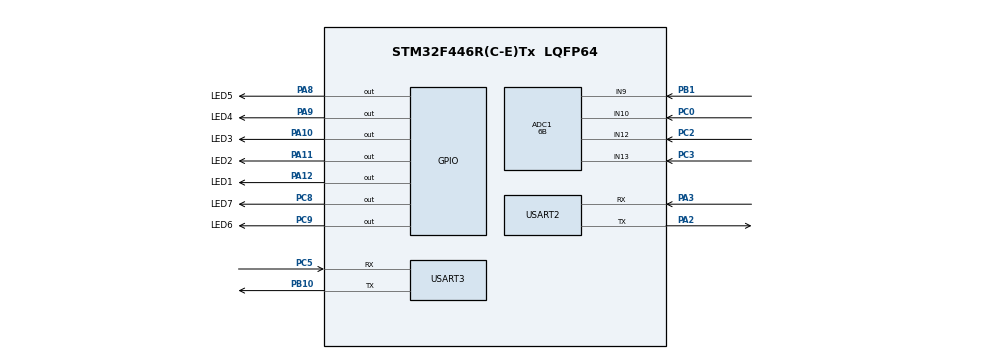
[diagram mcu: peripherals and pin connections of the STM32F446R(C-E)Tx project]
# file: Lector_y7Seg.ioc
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ADC1.Channel-1\#ChannelRegularConversion=ADC_CHANNEL_9
ADC1.Channel-2\#ChannelRegularConversion=ADC_CHANNEL_10
ADC1.Channel-3\#ChannelRegularConversion=ADC_CHANNEL_12
ADC1.Channel-4\#ChannelRegularConversion=ADC_CHANNEL_13
ADC1.ContinuousConvMode=ENABLE
ADC1.DataAlign=ADC_DATAALIGN_LEFT
ADC1.InjNumberOfConversion=0
ADC1.NbrOfConversion=4
ADC1.NbrOfConversionFlag=1
ADC1.Rank-1\#ChannelRegularConversion=1
ADC1.Rank-2\#ChannelRegularConversion=2
ADC1.Rank-3\#ChannelRegularConversion=3
ADC1.Rank-4\#ChannelRegularConversion=4
ADC1.Resolution=ADC_RESOLUTION_6B
ADC1.SamplingTime-1\#ChannelRegularConversion=ADC_SAMPLETIME_3CYCLES
ADC1.SamplingTime-2\#ChannelRegularConversion=ADC_SAMPLETIME_3CYCLES
ADC1.SamplingTime-3\#ChannelRegularConversion=ADC_SAMPLETIME_3CYCLES
ADC1.SamplingTime-4\#ChannelRegularConversion=ADC_SAMPLETIME_3CYCLES
ADC1.ScanConvMode=ENABLE
ADC1.master=1
Mcu.Family=STM32F4
Mcu.Name=STM32F446R(C-E)Tx
Mcu.Package=LQFP64
NVIC.ADC_IRQn=true\:0\:0\:false\:false\:true\:true\:true\:true
NVIC.PriorityGroup=NVIC_PRIORITYGROUP_4
NVIC.USART2_IRQn=true\:0\:0\:false\:false\:true\:true\:true\:true
NVIC.USART3_IRQn=true\:0\:0\:false\:false\:true\:true\:true\:true
PA10.GPIO_Label=LED3
PA10.GPIO_PuPd=GPIO_PULLDOWN
PA10.Signal=GPIO_Output
PA11.GPIO_Label=LED2
PA11.GPIO_PuPd=GPIO_PULLDOWN
PA11.Signal=GPIO_Output
PA12.GPIO_Label=LED1
PA12.GPIO_ModeDefaultOutputPP=GPIO_MODE_OUTPUT_PP
PA12.GPIO_PuPd=GPIO_PULLDOWN
PA12.GPIO_Speed=GPIO_SPEED_FREQ_LOW
PA12.PinState=GPIO_PIN_RESET
PA12.Signal=GPIO_Output
PA2.Mode=Asynchronous
PA2.Signal=USART2_TX
PA3.Mode=Asynchronous
PA3.Signal=USART2_RX
PA8.GPIO_Label=LED5
PA8.GPIO_PuPd=GPIO_PULLDOWN
PA8.Signal=GPIO_Output
PA9.GPIO_Label=LED4
PA9.GPIO_PuPd=GPIO_PULLDOWN
PA9.Signal=GPIO_Output
PB1.Signal=ADCx_IN9
PB10.Mode=Asynchronous
PB10.Signal=USART3_TX
PC0.Signal=ADCx_IN10
PC2.Signal=ADCx_IN12
PC3.Signal=ADCx_IN13
PC5.Mode=Asynchronous
PC5.Signal=USART3_RX
PC8.GPIO_Label=LED7
PC8.GPIO_PuPd=GPIO_PULLDOWN
PC8.Signal=GPIO_Output
PC9.GPIO_Label=LED6
PC9.GPIO_PuPd=GPIO_PULLDOWN
PC9.Signal=GPIO_Output
ProjectManager.HeapSize=0x200
ProjectManager.StackSize=0x400
ProjectManager.TargetToolchain=STM32CubeIDE
RCC.CortexFreq_Value=16000000
RCC.USBFreq_Value=96000000
RCC.VCOOutputFreq_Value=192000000
SH.ADCx_IN10.0=ADC1_IN10,IN10
SH.ADCx_IN12.0=ADC1_IN12,IN12
SH.ADCx_IN13.0=ADC1_IN13,IN13
SH.ADCx_IN9.0=ADC1_IN9,IN9
USART2.VirtualMode=VM_ASYNC
USART3.VirtualMode=VM_ASYNC
board=custom

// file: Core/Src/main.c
/* USER CODE BEGIN Header */
/**
  ******************************************************************************
  * @file           : main.c
  * @brief          : Main program body
  ******************************************************************************
  * @attention
  *
  * Copyright (c) 2024 STMicroelectronics.
  * All rights reserved.
  *
  * This software is licensed under terms that can be found in the LICENSE file
  * in the root directory of this software component.
  * If no LICENSE file comes with this software, it is provided AS-IS.
  *
  ******************************************************************************
  */
/* USER CODE END Header */
#include "main.h"

ADC_HandleTypeDef hadc1;

UART_HandleTypeDef huart2;
UART_HandleTypeDef huart3;

/* USER CODE BEGIN PV */
uint8_t data[10];
uint32_t adc_value;
uint32_t adc_value1;
uint32_t adc_value2;
uint32_t adc_value3;
uint8_t buffer[0];

uint8_t start = 0;

uint8_t dis = 0;
int ocu = 0;
uint8_t contador = 8;

uint8_t adc = 0;
uint8_t uno = 0;
uint8_t dos = 0;
uint8_t tres = 0;
uint8_t cuatro = 0;

uint8_t p1 = 0;
uint8_t p2 = 0;
uint8_t p3 = 0;
uint8_t p4 = 0;

uint8_t p_dispo = 0;

/* USER CODE END PV */

void SystemClock_Config(void);
static void MX_GPIO_Init(void);
static void MX_ADC1_Init(void);
static void MX_USART2_UART_Init(void);
static void MX_USART3_UART_Init(void);
/* USER CODE BEGIN PFP */
void transmit_uart(char *string);
void transmit_uart3(char *strin);
void parqueo1(void);
void parqueo2(void);
void parqueo3(void);
void parqueo4(void);
//void updateDisplay(contador);
/* USER CODE END PFP */

/* USER CODE BEGIN 0 */

void updateDisplay(uint8_t count) {
    // Apagar todos los LEDs primero
    HAL_GPIO_WritePin(LED1_GPIO_Port, LED1_Pin, GPIO_PIN_RESET);
    HAL_GPIO_WritePin(LED2_GPIO_Port, LED2_Pin, GPIO_PIN_RESET);
    HAL_GPIO_WritePin(LED3_GPIO_Port, LED3_Pin, GPIO_PIN_RESET);
    HAL_GPIO_WritePin(LED4_GPIO_Port, LED4_Pin, GPIO_PIN_RESET);
    HAL_GPIO_WritePin(LED5_GPIO_Port, LED5_Pin, GPIO_PIN_RESET);
    HAL_GPIO_WritePin(LED6_GPIO_Port, LED6_Pin, GPIO_PIN_RESET);
    HAL_GPIO_WritePin(LED7_GPIO_Port, LED7_Pin, GPIO_PIN_RESET);

    // Encender los segmentos correspondientes según el contador
    switch (count) {
        case 8:
            HAL_GPIO_WritePin(LED1_GPIO_Port, LED1_Pin, GPIO_PIN_SET);
            HAL_GPIO_WritePin(LED2_GPIO_Port, LED2_Pin, GPIO_PIN_SET);
            HAL_GPIO_WritePin(LED3_GPIO_Port, LED3_Pin, GPIO_PIN_SET);
            HAL_GPIO_WritePin(LED4_GPIO_Port, LED4_Pin, GPIO_PIN_SET);
            HAL_GPIO_WritePin(LED5_GPIO_Port, LED5_Pin, GPIO_PIN_SET);
            HAL_GPIO_WritePin(LED6_GPIO_Port, LED6_Pin, GPIO_PIN_SET);
            HAL_GPIO_WritePin(LED7_GPIO_Port, LED7_Pin, GPIO_PIN_SET);
            break;
        case 7:
            // Encender segmentos para 7
            HAL_GPIO_WritePin(LED1_GPIO_Port, LED1_Pin, GPIO_PIN_SET);
            HAL_GPIO_WritePin(LED2_GPIO_Port, LED2_Pin, GPIO_PIN_SET);
            HAL_GPIO_WritePin(LED3_GPIO_Port, LED3_Pin, GPIO_PIN_SET);
            // ...
            break;
        case 6:
            // Encender segmentos para 6
            HAL_GPIO_WritePin(LED1_GPIO_Port, LED1_Pin, GPIO_PIN_SET);
            HAL_GPIO_WritePin(LED3_GPIO_Port, LED3_Pin, GPIO_PIN_SET);
            HAL_GPIO_WritePin(LED4_GPIO_Port, LED4_Pin, GPIO_PIN_SET);
            HAL_GPIO_WritePin(LED5_GPIO_Port, LED5_Pin, GPIO_PIN_SET);
            HAL_GPIO_WritePin(LED6_GPIO_Port, LED6_Pin, GPIO_PIN_SET);
            HAL_GPIO_WritePin(LED7_GPIO_Port, LED7_Pin, GPIO_PIN_SET);
            // ...
            break;
        case 5:
            // Encender segmentos para 5
            HAL_GPIO_WritePin(LED1_GPIO_Port, LED1_Pin, GPIO_PIN_SET);
            HAL_GPIO_WritePin(LED3_GPIO_Port, LED3_Pin, GPIO_PIN_SET);
            HAL_GPIO_WritePin(LED4_GPIO_Port, LED4_Pin, GPIO_PIN_SET);
            HAL_GPIO_WritePin(LED6_GPIO_Port, LED6_Pin, GPIO_PIN_SET);
            HAL_GPIO_WritePin(LED7_GPIO_Port, LED7_Pin, GPIO_PIN_SET);
            // ...
            break;
        case 4:
            // Encender segmentos para 4
            HAL_GPIO_WritePin(LED2_GPIO_Port, LED2_Pin, GPIO_PIN_SET);
            HAL_GPIO_WritePin(LED3_GPIO_Port, LED3_Pin, GPIO_PIN_SET);
            HAL_GPIO_WritePin(LED6_GPIO_Port, LED6_Pin, GPIO_PIN_SET);
            HAL_GPIO_WritePin(LED7_GPIO_Port, LED7_Pin, GPIO_PIN_SET);
            // ...
            break;
        case 3:
            // Encender segmentos para 3
            HAL_GPIO_WritePin(LED1_GPIO_Port, LED1_Pin, GPIO_PIN_SET);
            HAL_GPIO_WritePin(LED2_GPIO_Port, LED2_Pin, GPIO_PIN_SET);
            HAL_GPIO_WritePin(LED3_GPIO_Port, LED3_Pin, GPIO_PIN_SET);
            HAL_GPIO_WritePin(LED4_GPIO_Port, LED4_Pin, GPIO_PIN_SET);
            HAL_GPIO_WritePin(LED7_GPIO_Port, LED7_Pin, GPIO_PIN_SET);
            // ...
            break;
        case 2:
            // Encender segmentos para 2
        	HAL_GPIO_WritePin(LED1_GPIO_Port, LED1_Pin, GPIO_PIN_SET);
        	HAL_GPIO_WritePin(LED2_GPIO_Port, LED2_Pin, GPIO_PIN_SET);
        	HAL_GPIO_WritePin(LED4_GPIO_Port, LED4_Pin, GPIO_PIN_SET);
        	HAL_GPIO_WritePin(LED5_GPIO_Port, LED5_Pin, GPIO_PIN_SET);
        	HAL_GPIO_WritePin(LED7_GPIO_Port, LED7_Pin, GPIO_PIN_SET);
            // ...
            break;
        case 1:
            // Encender segmentos para 1
            HAL_GPIO_WritePin(LED2_GPIO_Port, LED2_Pin, GPIO_PIN_SET);
            HAL_GPIO_WritePin(LED3_GPIO_Port, LED3_Pin, GPIO_PIN_SET);
            // ...
            break;
        case 0:
            // Encender segmentos para 0
            HAL_GPIO_WritePin(LED1_GPIO_Port, LED1_Pin, GPIO_PIN_SET);
            HAL_GPIO_WritePin(LED2_GPIO_Port, LED2_Pin, GPIO_PIN_SET);
            HAL_GPIO_WritePin(LED3_GPIO_Port, LED3_Pin, GPIO_PIN_SET);
            HAL_GPIO_WritePin(LED4_GPIO_Port, LED4_Pin, GPIO_PIN_SET);
            HAL_GPIO_WritePin(LED5_GPIO_Port, LED5_Pin, GPIO_PIN_SET);
            HAL_GPIO_WritePin(LED6_GPIO_Port, LED6_Pin, GPIO_PIN_SET);
            // ...
            break;
        default:
            // Manejar otros casos si es necesario
            break;
    }
}

/* USER CODE END 0 */

int main(void)
{

  /* MCU Configuration--------------------------------------------------------*/

  /* Reset of all peripherals, Initializes the Flash interface and the Systick. */
  HAL_Init();

  /* Configure the system clock */
  SystemClock_Config();

  /* Initialize all configured peripherals */
  MX_GPIO_Init();
  MX_ADC1_Init();
  MX_USART2_UART_Init();
  MX_USART3_UART_Init();
  /* USER CODE BEGIN 2 */
  HAL_ADC_Start_IT(&hadc1);
  HAL_UART_Receive_IT(&huart3, buffer, 1);

  updateDisplay(dis);   //regresar a esta linea donde inicia

  /* USER CODE END 2 */

  /* Infinite loop */
  /* USER CODE BEGIN WHILE */
  while (1)
  {
	  //HAL_I2C_Master_Transmit_IT(&hi2c1, (uint16_t)0x08 , i2c_tx_buffer, sizeof(i2c_tx_buffer));

	  parqueo1();
	  p1 = 1;
	  HAL_Delay(50);
	  HAL_ADC_Start_IT(&hadc1);

	  HAL_Delay(50);

	  parqueo2();
	  p2 = 1;
	  HAL_ADC_Start_IT(&hadc1);

	  HAL_Delay(50);

	  parqueo3();
	  p3 = 1;
	  HAL_ADC_Start_IT(&hadc1);
	  HAL_Delay(50);

	  parqueo4();
	  p4 = 1;
	  HAL_ADC_Start_IT(&hadc1);
	  HAL_Delay(50);

	  /*char dm[50];
	  sprintf(dm, "Recib", buffer);
	  transmit_uart(dm);
	  transmit_uart(", ");*/
	  /*dis = (uno + dos + tres + cuatro + cinco + seis + siete + ocho);
	  contador = 8 - dis;
	  updateDisplay(contador);*/

  }

    /* USER CODE END WHILE */

}

void SystemClock_Config(void)
{
  RCC_OscInitTypeDef RCC_OscInitStruct = {0};
  RCC_ClkInitTypeDef RCC_ClkInitStruct = {0};

  /** Configure the main internal regulator output voltage
  */
  __HAL_RCC_PWR_CLK_ENABLE();
  __HAL_PWR_VOLTAGESCALING_CONFIG(PWR_REGULATOR_VOLTAGE_SCALE3);

  /** Initializes the RCC Oscillators according to the specified parameters
  * in the RCC_OscInitTypeDef structure.
  */
  RCC_OscInitStruct.OscillatorType = RCC_OSCILLATORTYPE_HSI;
  RCC_OscInitStruct.HSIState = RCC_HSI_ON;
  RCC_OscInitStruct.HSICalibrationValue = RCC_HSICALIBRATION_DEFAULT;
  RCC_OscInitStruct.PLL.PLLState = RCC_PLL_NONE;
  if (HAL_RCC_OscConfig(&RCC_OscInitStruct) != HAL_OK)
  {
    Error_Handler();
  }

  /** Initializes the CPU, AHB and APB buses clocks
  */
  RCC_ClkInitStruct.ClockType = RCC_CLOCKTYPE_HCLK|RCC_CLOCKTYPE_SYSCLK
                              |RCC_CLOCKTYPE_PCLK1|RCC_CLOCKTYPE_PCLK2;
  RCC_ClkInitStruct.SYSCLKSource = RCC_SYSCLKSOURCE_HSI;
  RCC_ClkInitStruct.AHBCLKDivider = RCC_SYSCLK_DIV1;
  RCC_ClkInitStruct.APB1CLKDivider = RCC_HCLK_DIV1;
  RCC_ClkInitStruct.APB2CLKDivider = RCC_HCLK_DIV1;

  if (HAL_RCC_ClockConfig(&RCC_ClkInitStruct, FLASH_LATENCY_0) != HAL_OK)
  {
    Error_Handler();
  }
}

static void MX_ADC1_Init(void)
{

  //ADC_ChannelConfTypeDef sConfig = {0};

  /** Configure the global features of the ADC (Clock, Resolution, Data Alignment and number of conversion)
  */
  hadc1.Instance = ADC1;
  hadc1.Init.ClockPrescaler = ADC_CLOCK_SYNC_PCLK_DIV2;
  hadc1.Init.Resolution = ADC_RESOLUTION_6B;
  hadc1.Init.ScanConvMode = ENABLE;
  hadc1.Init.ContinuousConvMode = ENABLE;
  hadc1.Init.DiscontinuousConvMode = DISABLE;
  hadc1.Init.ExternalTrigConvEdge = ADC_EXTERNALTRIGCONVEDGE_NONE;
  hadc1.Init.ExternalTrigConv = ADC_SOFTWARE_START;
  hadc1.Init.DataAlign = ADC_DATAALIGN_LEFT;
  hadc1.Init.NbrOfConversion = 4;
  hadc1.Init.DMAContinuousRequests = DISABLE;
  hadc1.Init.EOCSelection = ADC_EOC_SINGLE_CONV;
  if (HAL_ADC_Init(&hadc1) != HAL_OK)
  {
    Error_Handler();
  }

  /** Configure for the selected ADC regular channel its corresponding rank in the sequencer and its sample time.
  */
  /*sConfig.Channel = ADC_CHANNEL_9;
  sConfig.Rank = 1;
  sConfig.SamplingTime = ADC_SAMPLETIME_3CYCLES;
  if (HAL_ADC_ConfigChannel(&hadc1, &sConfig) != HAL_OK)
  {
    Error_Handler();
  }

  /** Configure for the selected ADC regular channel its corresponding rank in the sequencer and its sample time.
  */
  /*sConfig.Channel = ADC_CHANNEL_10;
  sConfig.Rank = 2;
  if (HAL_ADC_ConfigChannel(&hadc1, &sConfig) != HAL_OK)
  {
    Error_Handler();
  }

  /** Configure for the selected ADC regular channel its corresponding rank in the sequencer and its sample time.
  */
  /*sConfig.Channel = ADC_CHANNEL_12;
  sConfig.Rank = 3;
  if (HAL_ADC_ConfigChannel(&hadc1, &sConfig) != HAL_OK)
  {
    Error_Handler();
  }

  /** Configure for the selected ADC regular channel its corresponding rank in the sequencer and its sample time.
  */
  /*sConfig.Channel = ADC_CHANNEL_13;
  sConfig.Rank = 4;
  if (HAL_ADC_ConfigChannel(&hadc1, &sConfig) != HAL_OK)
  {
    Error_Handler();
  }

}

static void MX_USART2_UART_Init(void)
{

  huart2.Instance = USART2;
  huart2.Init.BaudRate = 115200;
  huart2.Init.WordLength = UART_WORDLENGTH_8B;
  huart2.Init.StopBits = UART_STOPBITS_1;
  huart2.Init.Parity = UART_PARITY_NONE;
  huart2.Init.Mode = UART_MODE_TX_RX;
  huart2.Init.HwFlowCtl = UART_HWCONTROL_NONE;
  huart2.Init.OverSampling = UART_OVERSAMPLING_16;
  if (HAL_UART_Init(&huart2) != HAL_OK)
  {
    Error_Handler();
  }

}

static void MX_USART3_UART_Init(void)
{

  huart3.Instance = USART3;
  huart3.Init.BaudRate = 115200;
  huart3.Init.WordLength = UART_WORDLENGTH_8B;
  huart3.Init.StopBits = UART_STOPBITS_1;
  huart3.Init.Parity = UART_PARITY_NONE;
  huart3.Init.Mode = UART_MODE_TX_RX;
  huart3.Init.HwFlowCtl = UART_HWCONTROL_NONE;
  huart3.Init.OverSampling = UART_OVERSAMPLING_16;
  if (HAL_UART_Init(&huart3) != HAL_OK)
  {
    Error_Handler();
  }

}

static void MX_GPIO_Init(void)
{
  GPIO_InitTypeDef GPIO_InitStruct = {0};

  /* GPIO Ports Clock Enable */
  __HAL_RCC_GPIOC_CLK_ENABLE();
  __HAL_RCC_GPIOA_CLK_ENABLE();
  __HAL_RCC_GPIOB_CLK_ENABLE();

  /*Configure GPIO pin Output Level */
  HAL_GPIO_WritePin(GPIOC, LED7_Pin|LED6_Pin, GPIO_PIN_RESET);

  /*Configure GPIO pin Output Level */
  HAL_GPIO_WritePin(GPIOA, LED5_Pin|LED4_Pin|LED3_Pin|LED2_Pin
                          |LED1_Pin, GPIO_PIN_RESET);

  /*Configure GPIO pins : LED7_Pin LED6_Pin */
  GPIO_InitStruct.Pin = LED7_Pin|LED6_Pin;
  GPIO_InitStruct.Mode = GPIO_MODE_OUTPUT_PP;
  GPIO_InitStruct.Pull = GPIO_PULLDOWN;
  GPIO_InitStruct.Speed = GPIO_SPEED_FREQ_LOW;
  HAL_GPIO_Init(GPIOC, &GPIO_InitStruct);

  /*Configure GPIO pins : LED5_Pin LED4_Pin LED3_Pin LED2_Pin
                           LED1_Pin */
  GPIO_InitStruct.Pin = LED5_Pin|LED4_Pin|LED3_Pin|LED2_Pin
                          |LED1_Pin;
  GPIO_InitStruct.Mode = GPIO_MODE_OUTPUT_PP;
  GPIO_InitStruct.Pull = GPIO_PULLDOWN;
  GPIO_InitStruct.Speed = GPIO_SPEED_FREQ_LOW;
  HAL_GPIO_Init(GPIOA, &GPIO_InitStruct);

}

/* USER CODE BEGIN 4 */

void parqueo1(void){
	ADC_ChannelConfTypeDef sConfig = {0};
	  sConfig.Channel = ADC_CHANNEL_9;
	  sConfig.Rank = 1;
	  sConfig.SamplingTime = ADC_SAMPLETIME_3CYCLES;
	  if (HAL_ADC_ConfigChannel(&hadc1, &sConfig) != HAL_OK)
	  {
	    Error_Handler();
	  }
}
void parqueo2(void){
	/** Configure for the selected ADC regular channel its corresponding rank in the sequencer and its sample time.
	  */
	//FillRect(0,0,40,40,0xFFFF);
	ADC_ChannelConfTypeDef sConfig = {0};
	  sConfig.Channel = ADC_CHANNEL_10;
	  sConfig.Rank = 1;
	  sConfig.SamplingTime = ADC_SAMPLETIME_3CYCLES;
	  if (HAL_ADC_ConfigChannel(&hadc1, &sConfig) != HAL_OK)
	  {
	    Error_Handler();
	  }
}
void parqueo3(void){
	/** Configure for the selected ADC regular channel its corresponding rank in the sequencer and its sample time.
	  */
	ADC_ChannelConfTypeDef sConfig = {0};
	  sConfig.Channel = ADC_CHANNEL_12;
	  sConfig.Rank = 1;
	  sConfig.SamplingTime = ADC_SAMPLETIME_3CYCLES;
	  if (HAL_ADC_ConfigChannel(&hadc1, &sConfig) != HAL_OK)
	  {
	    Error_Handler();
	  }
}
void parqueo4(void){
	/** Configure for the selected ADC regular channel its corresponding rank in the sequencer and its sample time.
	  */
	ADC_ChannelConfTypeDef sConfig = {0};
	  sConfig.Channel = ADC_CHANNEL_13;
	  sConfig.Rank = 1;
	  sConfig.SamplingTime = ADC_SAMPLETIME_3CYCLES;
	  if (HAL_ADC_ConfigChannel(&hadc1, &sConfig) != HAL_OK)
	  {
	    Error_Handler();
	  }
}
void transmit_uart(char *string){
		  uint8_t len = strlen(string);
		  HAL_UART_Transmit(&huart2, (uint8_t*) string, len, 200);
}

void transmit_uart3(char *strin){
	uint8_t len = strlen(strin);
    HAL_UART_Transmit(&huart3, (uint8_t*) strin, len, 200);
}

void HAL_ADC_ConvCpltCallback(ADC_HandleTypeDef* hadc) {
    if (hadc == &hadc1){
    	if(p1 == 1){
    		adc = HAL_ADC_GetValue(&hadc1);
    		if(adc < 35){
    			uno = 1;
    			transmit_uart3("A");
    			p_dispo |= (1<< 4);//Hacer 1 el bit 4

			}else if(adc >= 10 && adc < 100){
				uno = 0;
				p_dispo &= ~(1<< 4);
				transmit_uart3("a");

			}else{
				uno = 0;
				p_dispo &= ~(1<< 4);
				transmit_uart3("a");
			}
			p1 = 0;

    	}
    	if(p2 == 1){
    		adc = HAL_ADC_GetValue(&hadc1);
    		if(adc < 35){
    			dos = 1;
    			p_dispo |= (1<< 5);
    			transmit_uart3("B");

			}else if(adc >= 10 && adc < 100){
				dos = 0;
				p_dispo &= ~(1<< 5);
				transmit_uart3("b");

			}else{
				dos = 0;
				p_dispo &= ~(1<< 5);
				transmit_uart3("b");
			}
    		p2 = 0;

    	}
    	if(p3 == 1){
    		adc = HAL_ADC_GetValue(&hadc1);
    		if(adc < 35){
    			tres = 1;
    			p_dispo |= (1<< 6);
    			transmit_uart3("C");

			}else if(adc >= 10 && adc < 100){
				tres = 0;
				p_dispo &= ~(1<< 6);
				transmit_uart3("c");

			}else{
				tres = 0;
				p_dispo &= ~(1<< 6);
				transmit_uart3("c");
			}
			p3 = 0;

    	}
    	if(p4 == 1){
    		adc = HAL_ADC_GetValue(&hadc1);
    		if(adc < 35){
    			cuatro = 1;
    			p_dispo |= (1<< 7);
    			transmit_uart3("D");
			}else if(adc >= 10 && adc < 100){
				cuatro = 0;
				p_dispo &= ~(1<< 7);
				transmit_uart3("d");

			}else{
				cuatro = 0;
				p_dispo &= ~(1<< 7);
				transmit_uart3("d");
			}
			p4 = 0;
    	}
    }
}

void HAL_UART_RxCpltCallback(UART_HandleTypeDef *huart)
{
	/*HAL_UART_Transmit(huart, buffer, sizeof(buffer), 10);
	HAL_UART_Receive_IT(&huart1, buffer, 8);*/
	if(huart->Instance == USART3){
		//HAL_UART_Transmit(&huart2, buffer, sizeof(buffer), 10);
		  if(buffer[0] == '0'){
			  dis = 0;
		  }else if (buffer[0] == '1'){
			  dis = 1;
		  }else if(buffer[0] == '2'){
			  dis = 2;
		  }else if(buffer[0] == '3'){
			  dis = 3;
		  }else if(buffer[0] == '4'){
			  dis = 4;
		  }else if(buffer[0] == '5'){
			  dis = 5;
		  }else if(buffer[0] == '6'){
			  dis = 6;
		  }else if(buffer[0] == '7'){
			  dis = 7;
		  }else if(buffer[0] == '8'){
			  dis = 8;
		  }
		  updateDisplay(dis);
	}
	HAL_UART_Receive_IT(&huart3, buffer, 1);
}

/* USER CODE END 4 */

void Error_Handler(void)
{
  __disable_irq();
  while (1)
  {
  }
}
